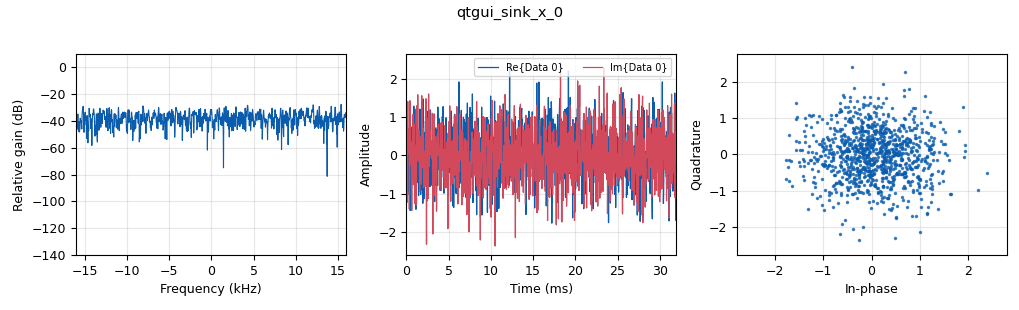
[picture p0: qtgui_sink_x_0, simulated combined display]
options:
  parameters:
    author: chaejin
    generate_options: qt_gui
    generator_class_name: PythonQtGuiGenerator
    generator_module: gnuradio.grc.workflows.python_qt_gui
    id: untitled
    output_language: python
    title: Not titled yet
  states: {}

blocks:
- name: samp_rate
  id: variable
  parameters:
    value: '32000'
  states: {}
- name: analog_noise_source_x_0
  id: analog_noise_source_x
  parameters:
    amp: '1'
    noise_type: analog.GR_GAUSSIAN
    seed: '0'
    type: complex
  states: {}
- name: osmosdr_sink_0
  id: osmosdr_sink
  parameters:
    bb_gain0: '20'
    bw0: 0.5e6
    freq0: 1.42e9
    gain0: '30'
    if_gain0: '20'
    sample_rate: samp_rate
    sync: sync
    type: fc32
  states: {}
- name: qtgui_sink_x_0
  id: qtgui_sink_x
  parameters:
    bw: samp_rate
    fc: '0'
    fftsize: '1024'
    type: complex
  states: {}

connections:
- [analog_noise_source_x_0, '0', osmosdr_sink_0, '0']
- [analog_noise_source_x_0, '0', qtgui_sink_x_0, '0']

metadata:
  file_format: 1
  grc_version: 3.10.12.0
